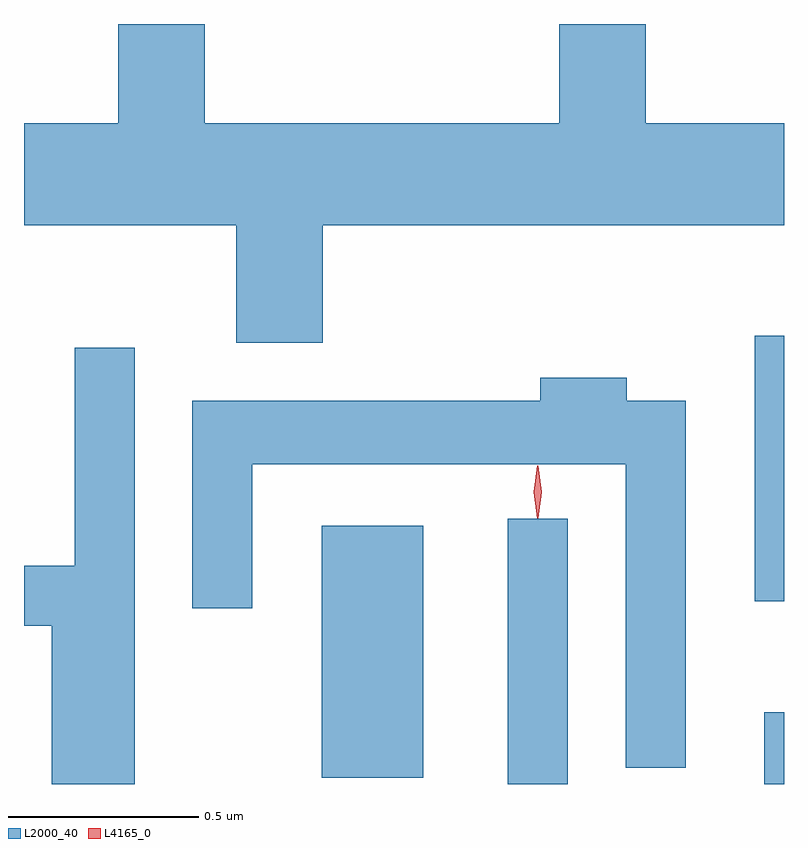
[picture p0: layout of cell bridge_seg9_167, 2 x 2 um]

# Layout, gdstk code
import gdstk
lib = gdstk.Library(unit=1e-6, precision=1e-09)
def R(c, l, rs):  # rectangles x0, y0, x1, y1
    for r in rs: c.add(gdstk.rectangle(r[:2], r[2:], *l))
def P(c, l, *ps):  # polygons
    for p in ps: c.add(gdstk.Polygon(p, *l))
L2000_40 = (2000, 40)
L4165_0 = (4165, 0)

bridge_seg9_167 = lib.new_cell('bridge_seg9_167')
R(bridge_seg9_167, L2000_40, [(1438.606,2079.145,1438.764,2079.843), (1439.281,2079.145,1439.333,2079.334), (1438.116,2079.161,1438.384,2079.824), (1439.256,2079.626,1439.333,2080.324)])
P(bridge_seg9_167, L2000_40, [(1438.119,2080.616),(1439.333,2080.616),(1439.333,2080.884),(1438.969,2080.884),(1438.969,2081.145),(1438.741,2081.145),(1438.741,2080.884),(1437.809,2080.884),(1437.809,2081.145),(1437.581,2081.145),(1437.581,2080.884),(1437.333,2080.884),(1437.333,2080.616),(1437.891,2080.616),(1437.891,2080.306),(1438.119,2080.306)],
  [(1437.624,2080.293),(1437.466,2080.293),(1437.466,2079.719),(1437.333,2079.719),(1437.333,2079.561),(1437.406,2079.561),(1437.406,2079.145),(1437.624,2079.145)],
  [(1439.074,2080.154),(1438.919,2080.154),(1438.919,2080.214),(1438.691,2080.214),(1438.691,2080.154),(1437.776,2080.154),(1437.776,2079.608),(1437.934,2079.608),(1437.934,2079.986),(1438.916,2079.986),(1438.916,2079.188),(1439.074,2079.188)])
P(bridge_seg9_167, L4165_0, [(1438.684,2079.844),(1438.675,2079.913),(1438.684,2079.982),(1438.685,2079.983),(1438.686,2079.982),(1438.695,2079.913),(1438.686,2079.844),(1438.685,2079.844)],
  [(1438.684,2079.847),(1438.675,2079.914),(1438.684,2079.98),(1438.685,2079.98),(1438.685,2079.98),(1438.695,2079.914),(1438.685,2079.847),(1438.685,2079.847)])

lib.write_gds('bridge_seg9_167.gds')
